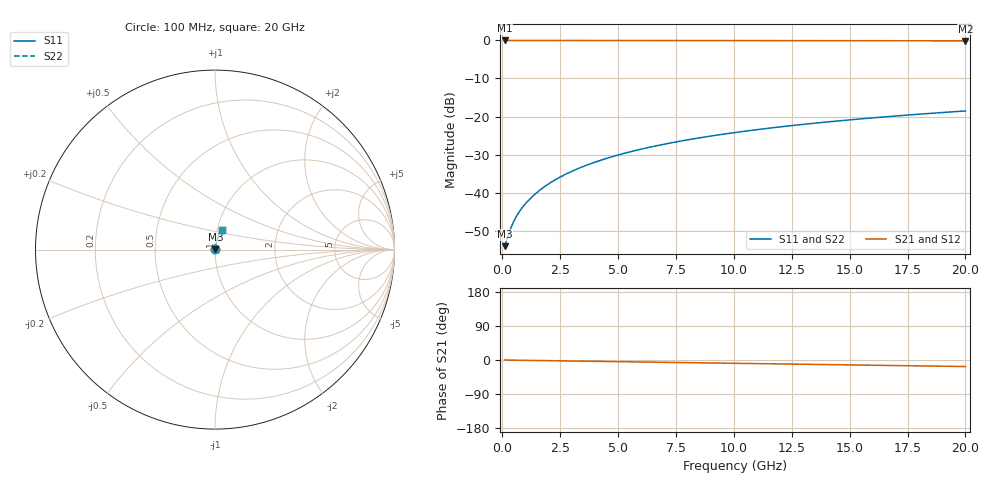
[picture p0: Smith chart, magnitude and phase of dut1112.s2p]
! Touchstone file exported from HFSS 2026.1.0
!  File:  C:/ffzhzh/LocalFiles/Ansys_Project_Files/temp_train_TMRDL_1112_1783161444_51560.aedt
!  Generated:  06:38:37 PM Jul  4, 2026
!  Design:  TMRDL
!  Project:  temp_train_TMRDL_1112_1783161444_51560
! Variables:
!  h_bsmrdl = 2um
!  h_ox = 20um
!  h_rdl = 5um
!  h_sub = 80um
!  h_tmrdl = 2.31um
!  h_tsv = 80um
!  h_via = 3um
!  l_bsmrdl = 300um
!  l_sub = 652.28um
!  l_tmrdl = 252.28um
!  m_sub = 200um
!  pitch = 39.66um
!  r_tsv = 6um
!  s_tmrdl = 10um
!  w_bsmrdl = 18um
!  w_sub = 500um
!  w_tmrdl = 27.15um
!  x_tsv_center1 = 265.855um
!  x_tsv_center2 = 583.855um
!  x_tsv_center3 = 863.285um
!  x_tsv_center4 = 1181.285um
!  x_tsv_center5 = 1460.715um
!  x_tsv_center6 = 1778.715um
# GHz S MA R 50.000000
! Terminal data exported
! Port[1] = TM_RDL1_1_T1
! Port[2] = TM_RDL1_1_T2
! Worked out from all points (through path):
!   200 points, 100 MHz to 20 GHz, reference 50 ohm
!   highest |S21| = -0.02 dB at 100 MHz (marker M1); lowest = -0.1 dB at 20 GHz (marker M2)
!   group delay of S21, straight-line fit = 2.39 ps
!   lowest |S11| = -54.0 dB at 100 MHz (marker M3), VSWR 1.00, Z = 50.2 + j0.0783 ohm
!   |S11| at or under -10 dB: start of sweep to end of sweep
!   |S22| runs from -54.0 to -18.5 dB; largest |S21 - S12| = 9.7e-15
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0.1  0.001991 23.1  0.9982 -0.1  0.9982 -0.1  0.001991 23.1
! Gamma 0 0 0 0
! Port Impedance 50 0 50 0
0.3  0.003018 48.7  0.998 -0.3  0.998 -0.3  0.003018 48.7
0.4  0.003626 54.7  0.9979 -0.4  0.9979 -0.4  0.003626 54.7
0.5  0.004237 58.7  0.9978 -0.5  0.9978 -0.5  0.004237 58.7
0.6  0.004839 61.6  0.9977 -0.6  0.9977 -0.6  0.004839 61.6
0.7  0.005432 63.9  0.9976 -0.6  0.9976 -0.6  0.005432 63.9
0.9  0.006602 67.3  0.9975 -0.8  0.9975 -0.8  0.006602 67.3
1.2  0.008346 70.9  0.9974 -1.1  0.9974 -1.1  0.008346 70.9
1.4  0.009516 72.7  0.9973 -1.2  0.9973 -1.2  0.009516 72.7
1.7  0.01129 74.7  0.9973 -1.5  0.9973 -1.5  0.01129 74.7
2.2  0.01427 76.9  0.9972 -1.9  0.9972 -1.9  0.01427 76.9
2.8  0.0179 78.4  0.997 -2.5  0.997 -2.5  0.0179 78.4
3.5  0.02216 79.3  0.9968 -3.1  0.9968 -3.1  0.02216 79.3
4.2  0.02643 79.7  0.9966 -3.7  0.9966 -3.7  0.02643 79.7
5  0.03131 79.9  0.9964 -4.4  0.9964 -4.4  0.03131 79.9
5.9  0.0368 79.7  0.996 -5.2  0.996 -5.2  0.0368 79.7
6.8  0.04226 79.4  0.9957 -6.0  0.9957 -6.0  0.04226 79.4
8.3  0.05131 78.6  0.9949 -7.3  0.9949 -7.3  0.05131 78.6
10.1  0.06205 77.4  0.9939 -8.8  0.9939 -8.8  0.06205 77.4
13.4  0.08138 74.9  0.9918 -11.6  0.9918 -11.6  0.08138 74.9
16.7  0.1002 72.4  0.9894 -14.5  0.9894 -14.5  0.1002 72.4
20  0.1186 69.8  0.9867 -17.2  0.9867 -17.2  0.1186 69.8
